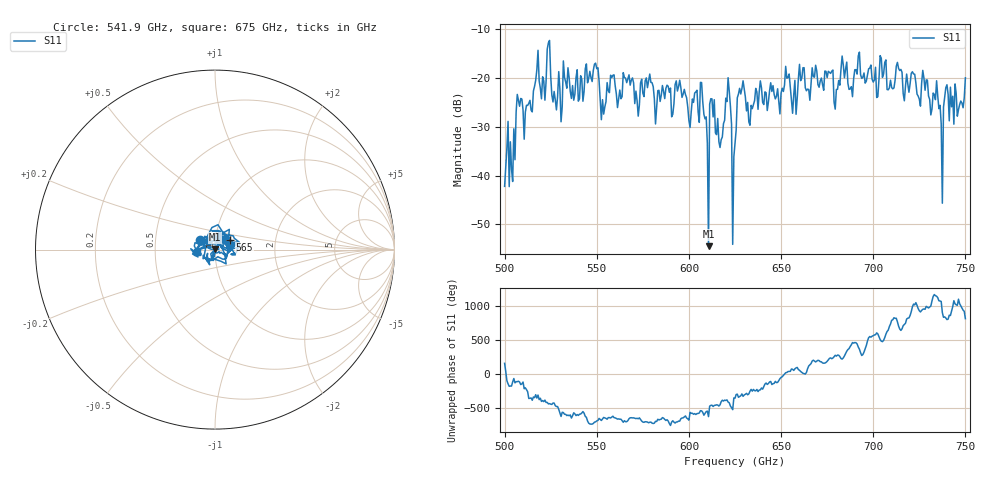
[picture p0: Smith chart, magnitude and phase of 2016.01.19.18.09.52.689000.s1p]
!Created with skrf (http://scikit-rf.org).
# GHz S RI R 50.0
!freq ReS11 ImS11
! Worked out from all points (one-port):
!   401 points, 500 GHz to 750 GHz, reference 50 ohm
!   lowest |S11| = -54.5 dB at 610.6 GHz (marker M1), VSWR 1.00, Z = 50 + j0.189 ohm
!   |S11| at or under -10 dB: start of sweep to end of sweep
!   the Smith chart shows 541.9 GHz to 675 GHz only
!   S11 on the Smith chart (normalised r, x): 541.9 GHz: 0.85, +0.09; 565 GHz: 1.18, +0.13; 675 GHz: 0.82, -0.02
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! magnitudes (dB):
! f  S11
! 500 GHz  -42.2
! 505 GHz  -30.4
! 507.5 GHz  -24.6
! 517.5 GHz  -18.3
! 531.2 GHz  -25.9
! 541.9 GHz  -20.2
! 549.4 GHz  -17.0
! 553.1 GHz  -24.4
! 558.8 GHz  -19.4
! 562.5 GHz  -22.5
! 565 GHz  -19.9
! 593.8 GHz  -22.7
! 607.5 GHz  -24.8
! 610.6 GHz  -54.5
! 612.5 GHz  -24.3
! 617.5 GHz  -32.6
! 621.2 GHz  -19.9
! 625 GHz  -33.4
! 628.1 GHz  -23.3
! 656.2 GHz  -27.2
! 675 GHz  -19.9
! 687.5 GHz  -22.2
! 691.2 GHz  -19.2
! 718.8 GHz  -21.2
! 733.8 GHz  -24.4
! 736.9 GHz  -29.4
! 739.4 GHz  -22.0
! 750 GHz  -20.0
